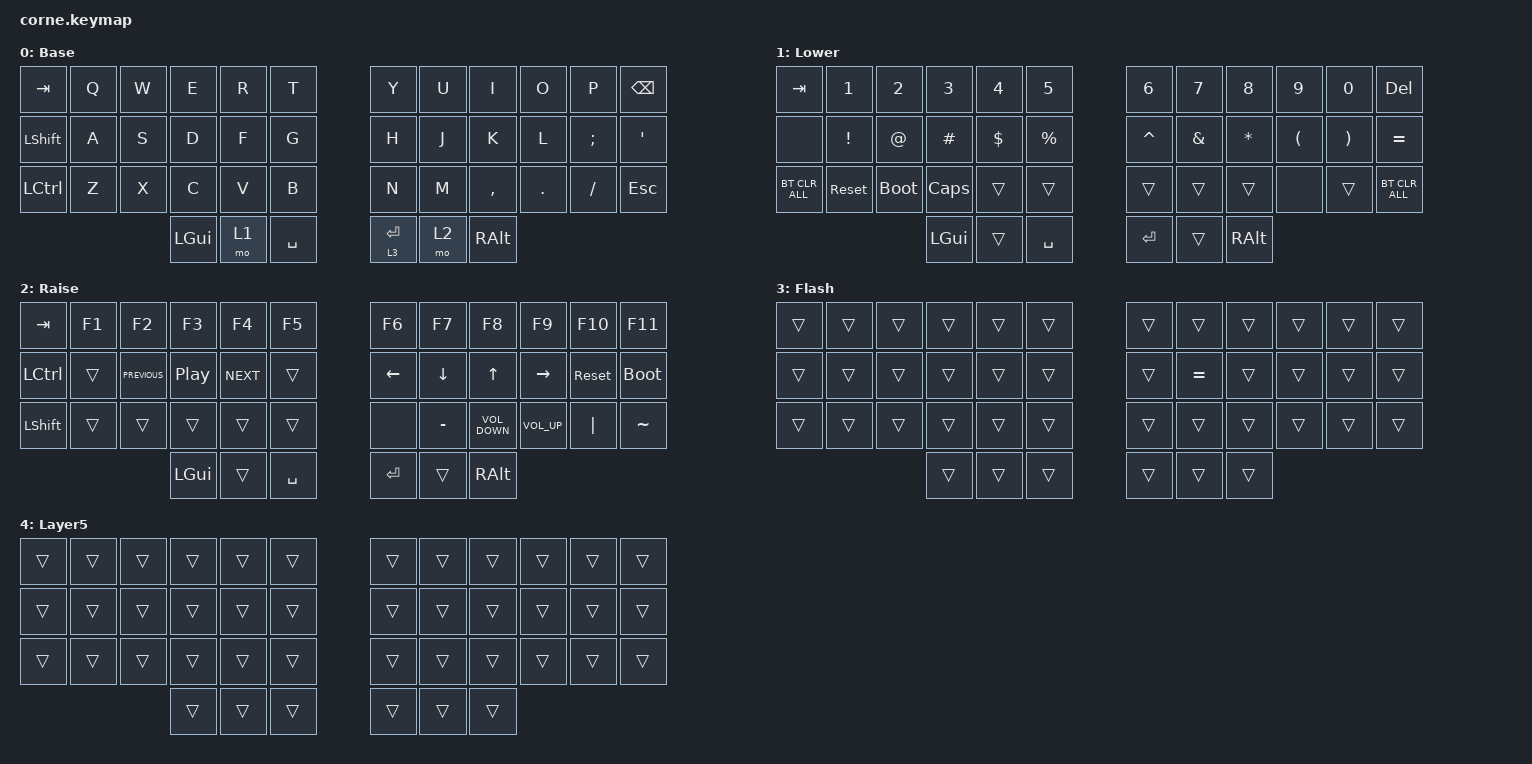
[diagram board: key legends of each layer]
/*
 * Copyright (c) 2020 The ZMK Contributors
 *
 * SPDX-License-Identifier: MIT
 * 
 * NOTE: This keymap configuration is used across multiple devices.
 * When modifying overlays or device-specific properties, ensure that
 * all corresponding device tree bindings are properly declared.
 * See: config/dts/bindings/display/solomon,ssd1306fb-i2c.yaml
 */

#include <behaviors.dtsi>
#include <dt-bindings/zmk/keys.h>
#include <dt-bindings/zmk/bt.h>

#define DEFAULT_L 0
#define SYMBOLS_L 1
#define ARROWS_L  2
#define NUMBERS_L 3


/ {

	behaviors {
        hm: homerow_mods {
            compatible = "zmk,behavior-hold-tap";
            label = "HOMEROW_MODS";
            #binding-cells = <2>;
            tapping-term-ms = <300>;
            quick-tap-ms = <200>;
            flavor = "tap-preferred";
            bindings = <&kp>, <&kp>;
        };
    };
      keymap {
        compatible = "zmk,keymap";

      default_layer {
            // -----------------------------------------------------------------------------------------
            // |  TAB |  Q  |  W  |  E  |  R  |  T  |   |  Y  |  U   |  I  |  O  |  P  | BKSP |
            // | CTRL |  A  |  S  |  D  |  F  |  G  |   |  H  |  J   |  K  |  L  |  ;  |  '   |
            // | SHFT |  Z  |  X  |  C  |  V  |  B  |   |  N  |  M   |  ,  |  .  |  /  | ESC  |
            //                    | GUI | LWR | SPC |   | ENT | RSE  | ALT |

            display-name = "Base";
            bindings = <
&kp TAB           &kp Q  &kp W  &kp E     &kp R  &kp T        &kp Y        &kp U  &kp I      &kp O    &kp P     &kp BSPC
&kp LEFT_SHIFT    &kp A  &kp S  &kp D     &kp F  &kp G        &kp H        &kp J  &kp K      &kp L    &kp SEMI  &kp SQT
&kp LEFT_CONTROL  &kp Z  &kp X  &kp C     &kp V  &kp B        &kp N        &kp M  &kp COMMA  &kp DOT  &kp FSLH  &kp ESC
                                &kp LGUI  &mo 1  &kp SPACE    &lt 3 ENTER  &mo 2  &kp RALT
            >;
        };

        lower_layer {
            // -----------------------------------------------------------------------------------------
            // |  TAB |  1  |  2  |  3  |  4  |  5  |   |  6  |  7  |  8  |  9  |  0  | BKSP |
            // | BTCLR| BT1 | BT2 | BT3 | BT4 | BT5 |   | LFT | DWN |  UP | RGT |     |      |
            // | SHFT |     |     |     |     |     |   |     |     |     |     |     |      |
            //                    | GUI |     | SPC |   | ENT |     | ALT |

            display-name = "Lower";
            bindings = <
&kp TAB         &kp N1           &kp N2       &kp N3        &kp N4      &kp N5         &kp N6     &kp N7         &kp N8        &kp N9                &kp N0                 &kp DELETE
&none           &kp EXCLAMATION  &kp AT_SIGN  &kp HASH      &kp DOLLAR  &kp PERCENT    &kp CARET  &kp AMPERSAND  &kp ASTERISK  &kp LEFT_PARENTHESIS  &kp RIGHT_PARENTHESIS  &kp EQUAL
&bt BT_CLR_ALL  &sys_reset       &bootloader  &kp CAPSLOCK  &trans      &trans         &trans     &trans         &trans        &none                 &trans                 &bt BT_CLR_ALL
                                              &kp LGUI      &trans      &kp SPACE      &kp RET    &trans         &kp RALT
            >;
        };

        raise_layer {
            // -----------------------------------------------------------------------------------------
            // |  TAB |  !  |  @  |  #  |  $  |  %  |   |  ^  |  &  |  *  |  (  |  )  | BKSP |
            // | CTRL |     |     |     |     |     |   |  -  |  =  |  [  |  ]  |  \  |  `   |
            // | SHFT |     |     |     |     |     |   |  _  |  +  |  {  |  }  | "|" |  ~   |
            //                    | GUI |     | SPC |   | ENT |     | ALT |

            display-name = "Raise";
            bindings = <
&kp TAB    &kp F1  &kp F2          &kp F3            &kp F4      &kp F5       &kp F6    &kp F7          &kp F8             &kp F9           &kp F10     &kp F11
&kp LCTRL  &trans  &kp C_PREVIOUS  &kp C_PLAY_PAUSE  &kp C_NEXT  &trans       &kp LEFT  &kp DOWN_ARROW  &kp UP_ARROW       &kp RIGHT        &sys_reset  &bootloader
&kp LSHFT  &trans  &trans          &trans            &trans      &trans       &none     &kp MINUS           &kp K_VOLUME_DOWN  &kp K_VOLUME_UP  &kp PIPE    &kp TILDE
                                   &kp LGUI          &trans      &kp SPACE    &kp RET   &trans          &kp RALT
            >;
        };

        layer_3 {
            bindings = <
&trans  &trans  &trans  &trans  &trans  &trans    &trans  &trans     &trans  &trans  &trans  &trans
&trans  &trans  &trans  &trans  &trans  &trans    &trans  &kp EQUAL  &trans  &trans  &trans  &trans
&trans  &trans  &trans  &trans  &trans  &trans    &trans  &trans     &trans  &trans  &trans  &trans
                        &trans  &trans  &trans    &trans  &trans     &trans
            >;

            label = "Flash";
        };

        layer_5 {
            bindings = <
&trans  &trans  &trans  &trans  &trans  &trans    &trans  &trans  &trans  &trans  &trans  &trans
&trans  &trans  &trans  &trans  &trans  &trans    &trans  &trans  &trans  &trans  &trans  &trans
&trans  &trans  &trans  &trans  &trans  &trans    &trans  &trans  &trans  &trans  &trans  &trans
                        &trans  &trans  &trans    &trans  &trans  &trans
            >;

            label = "Layer5";
        };
    };

    conditional_layers {
        compatible = "zmk,conditional-layers";

        Flash {
            if-layers = <2 3>;
            then-layer = <5>;
        };
    };

};
